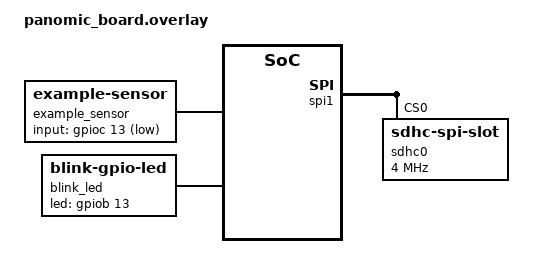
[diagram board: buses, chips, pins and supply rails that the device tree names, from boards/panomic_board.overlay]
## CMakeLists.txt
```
#-------------------------------------------------------------------------------
# Firmware Template
#
# Copyright (c) 2021 Nordic Semiconductor ASA
# SPDX-License-Identifier: Apache-2.0

cmake_minimum_required(VERSION 3.13.1)
find_package(Zephyr REQUIRED HINTS $ENV{ZEPHYR_BASE})

project(app LANGUAGES C)

target_sources(app PRIVATE src/main.c)
```

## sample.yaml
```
# This file is provided so that the application can be compiled using Twister,
# the Zephyr testing tool. In this file, multiple combinations can be specified,
# so that you can easily test all of them locally or in CI.
sample:
  description: Firmware template
  name: firmware-template
common:
  build_only: true
  integration_platforms:
    - panomic_board
    - nucleo_f302r8
tests:
  app.default: {}
  app.debug:
    extra_overlay_confs:
      - debug.conf
```

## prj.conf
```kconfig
# Copyright (c) 2021 Nordic Semiconductor ASA
# SPDX-License-Identifier: Apache-2.0
#
# This file contains selected Kconfig options for the application.

# Heap and stack sizes
CONFIG_HEAP_MEM_POOL_SIZE=8192
CONFIG_MAIN_STACK_SIZE=4096

CONFIG_SENSOR=y
CONFIG_BLINK=y

#console config
CONFIG_CONSOLE=y
CONFIG_UART_CONSOLE=y

# Logging
CONFIG_LOG=y
CONFIG_LOG_BACKEND_UART=y
CONFIG_LOG_BACKEND_UART_AUTOSTART=y
CONFIG_LOG_TIMESTAMP_64BIT=y

# Shell
CONFIG_SHELL=y
CONFIG_SHELL_BACKENDS=y #dependency CONFIG_SHELL
CONFIG_SHELL_BACKEND_SERIAL=y #dependency CONFIG_UART_CONSOLE
CONFIG_SHELL_HISTORY=y

# Disable log redirection to shell to separate it
CONFIG_SHELL_LOG_BACKEND=n 

#SD card configurations
CONFIG_DISK_ACCESS=y
CONFIG_FILE_SYSTEM=y
CONFIG_FAT_FILESYSTEM_ELM=y
CONFIG_MAIN_STACK_SIZE=2048

CONFIG_SPI=y
CONFIG_DISK_DRIVER_SDMMC=y
CONFIG_SPI_STM32=y

#Settings configuations
CONFIG_SETTINGS=y
CONFIG_SETTINGS_RUNTIME=y

CONFIG_SETTINGS_FILE=y
CONFIG_SETTINGS_FILE_PATH="/SD:/settings/settings.txt"
```

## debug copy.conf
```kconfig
# Copyright (c) 2021 Nordic Semiconductor ASA
# SPDX-License-Identifier: Apache-2.0
#
# This is a Kconfig fragment which can be used to enable debug-related options
# in the application. See the README for more details.

# compiler
# CONFIG_DEBUG_OPTIMIZATIONS=y

# logging
# CONFIG_APP_LOG_LEVEL_DBG=y

# Enable stack sentinel to detect stack overflows
#CONFIG_STACK_SENTINEL=y
#shell configurations

CONFIG_MAIN_STACK_SIZE=4096
CONFIG_HEAP_MEM_POOL_SIZE=8192
#CONFIG_HW_STACK_PROTECTION=y
#CONFIG_FLASH=y

# Shell Related Configs
# Enable Shell for GPIO
CONFIG_GPIO=y
CONFIG_GPIO_SHELL=y
CONFIG_UART_CONSOLE=y

# Enable Shell for I2C
CONFIG_I2C=y
CONFIG_I2C_SHELL=y

#SYSTEM VIEW TRACE

CONFIG_STDOUT_CONSOLE=y
# enable to use thread names
CONFIG_THREAD_NAME=y
CONFIG_SEGGER_SYSTEMVIEW=y
CONFIG_USE_SEGGER_RTT=y
CONFIG_TRACING=y
# enable for post-mortem tracing
CONFIG_SEGGER_SYSVIEW_POST_MORTEM_MODE=n

# CONFIG_TRACING=y
# CONFIG_PERCEPIO_TRACERECORDER=y
# CONFIG_PERCEPIO_TRC_START_MODE_START_FROM_HOST=y
# CONFIG_PERCEPIO_TRC_CFG_STREAM_PORT_RTT=y
# CONFIG_PERCEPIO_TRC_CFG_STREAM_PORT_RTT_UP_BUFFER_SIZE=2000
```

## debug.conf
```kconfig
# Copyright (c) 2021 Nordic Semiconductor ASA
# SPDX-License-Identifier: Apache-2.0
#
# This is a Kconfig fragment which can be used to enable debug-related options
# in the application. See the README for more details.

# compiler
CONFIG_DEBUG_OPTIMIZATIONS=y

# logging
CONFIG_APP_LOG_LEVEL_DBG=y

# Enable stack sentinel to detect stack overflows
#CONFIG_STACK_SENTINEL=y
#CONFIG_HW_STACK_PROTECTION=y

# Shell Related Configs
# Enable Shell for GPIO
CONFIG_GPIO=y
CONFIG_GPIO_SHELL=y

#Enable UART console
CONFIG_UART_CONSOLE=y

# Enable Shell for I2C
CONFIG_I2C=y
CONFIG_I2C_SHELL=y

#Enables settings on shell
CONFIG_SETTINGS_SHELL=y

#ENABLE TO USE SYSTEM VIEW TRACE
#***********************************************************************************
# CONFIG_STDOUT_CONSOLE=y
# # enable to use thread names
# CONFIG_THREAD_NAME=y
# CONFIG_SEGGER_SYSTEMVIEW=y
# CONFIG_USE_SEGGER_RTT=y
# CONFIG_TRACING=y
# # enable for post-mortem tracing
# CONFIG_SEGGER_SYSVIEW_POST_MORTEM_MODE=n
#***********************************************************************************

# #ENABLE ALL BELOW PERCEPIO CONFIGURATION TO WORK WITH PERCEPIO TRACELIZER SOFTWARE
#***********************************************************************************
# CONFIG_TRACING=y
# CONFIG_PERCEPIO_TRACERECORDER=y
# CONFIG_PERCEPIO_TRC_START_MODE_START_FROM_HOST=y
# CONFIG_PERCEPIO_TRC_CFG_STREAM_PORT_RTT=y
# CONFIG_PERCEPIO_TRC_CFG_STREAM_PORT_RTT_UP_BUFFER_SIZE=5000

#***********************************************************************************
```

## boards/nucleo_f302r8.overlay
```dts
/*
 * Copyright (c) 2021 Nordic Semiconductor ASA
 * SPDX-License-Identifier: Apache-2.0
 */

/* This devicetree overlay file will be automatically picked by the Zephyr
 * build system when building the sample for the nucleo_f302r8 board. It shows
 * how the firmware-template can be built on sample boards already provided
 * by Zephyr.
 */

/ {
  example_sensor: example-sensor {
    compatible = "zephyr,example-sensor";
    input-gpios = <&gpioc 13 (GPIO_PULL_UP | GPIO_ACTIVE_LOW)>;
  };

  blink_led: blink-led {
    compatible = "blink-gpio-led";
    led-gpios = <&gpiob 13 GPIO_ACTIVE_HIGH>;
    blink-period-ms = <1000>;
  };
};

&gpioc {
  status = "okay";
};
```

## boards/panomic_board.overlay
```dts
/*
 * Copyright (c) 2021 Nordic Semiconductor ASA
 * SPDX-License-Identifier: Apache-2.0
 */

/* This devicetree overlay file will be automatically picked by the Zephyr
 * build system when building the sample for the nucleo_f302r8 board. It shows
 * how the firmware-template can be built on sample boards already provided
 * by Zephyr.
 */

/ {
  example_sensor: example-sensor {
    compatible = "zephyr,example-sensor";
    input-gpios = <&gpioc 13 (GPIO_PULL_UP | GPIO_ACTIVE_LOW)>;
  };

  blink_led: blink-led {
    compatible = "blink-gpio-led";
    led-gpios = <&gpiob 13 GPIO_ACTIVE_HIGH>;
    blink-period-ms = <1000>;
  };
};

&gpioc {
  status = "okay";
};

&spi1 {
	sdhc0: sdhc@0 {
		compatible = "zephyr,sdhc-spi-slot";
		reg = <0>;
		status = "okay";
		mmc {
			compatible = "zephyr,sdmmc-disk";
			status = "okay";
      disk-name = "SD";
		};
		spi-max-frequency = <4000000>;
	};
};
```

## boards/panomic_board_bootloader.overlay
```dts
/*
 * Copyright (c) 2021 Nordic Semiconductor ASA
 * SPDX-License-Identifier: Apache-2.0
 */

/* This devicetree overlay file will be automatically picked by the Zephyr
 * build system when building the sample for the nucleo_f302r8 board. It shows
 * how the firmware-template can be built on sample boards already provided
 * by Zephyr.
 */

 #include "panomic_board.overlay"

 / {
  chosen {
    zephyr,code-partition = &boot_partition;
  };
};
```

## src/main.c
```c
/*
 * Copyright (c) 2021 Nordic Semiconductor ASA
 * SPDX-License-Identifier: Apache-2.0
 */

#include <zephyr/kernel.h>
#include <zephyr/drivers/sensor.h>
#include <zephyr/logging/log.h>
#include <app/drivers/blink.h>
#include <app_version.h>
#include <zephyr/settings/settings.h>
#include <inttypes.h>
#include <zephyr/storage/disk_access.h>
#include <zephyr/fs/fs.h>


#define CONFIG_SETTINGS_FILE_DIR "/SD:/settings"

#if defined(CONFIG_FAT_FILESYSTEM_ELM)
#include <ff.h>
/*
 *  Note the fatfs library is able to mount only strings inside _VOLUME_STRS
 *  in ffconf.h
 */
#define DISK_DRIVE_NAME "SD"
#define DISK_MOUNT_PT "/SD:"

static FATFS fat_fs;
/* mounting info */
static struct fs_mount_t mp = {
	.type = FS_FATFS,
	.fs_data = &fat_fs,
};

#elif defined(CONFIG_FILE_SYSTEM_EXT2)

#include <zephyr/fs/ext2.h>

#define DISK_DRIVE_NAME "SDMMC"
#define DISK_MOUNT_PT "/ext"

static struct fs_mount_t mp = {
	.type = FS_EXT2,
	.flags = FS_MOUNT_FLAG_NO_FORMAT,
	.storage_dev = (void *)DISK_DRIVE_NAME,
	.mnt_point = "/ext",
};

#endif
#if defined(CONFIG_FAT_FILESYSTEM_ELM)
#define FS_RET_OK FR_OK
#else
#define FS_RET_OK 0
#endif

LOG_MODULE_REGISTER(main, CONFIG_APP_LOG_LEVEL);
#define BLINK_PERIOD_MS_STEP 100U
#define BLINK_PERIOD_MS_MAX 1000U
#define DEFAULT_FOO_VAL_VALUE 1

static uint8_t foo_val = DEFAULT_FOO_VAL_VALUE;
static const char *disk_mount_pt = DISK_MOUNT_PT;
static int lsdir(const char *path);

/**
 * @brief Set a setting value.
 *
 * @param name Setting name.
 * @param len Data length.
 * @param read_cb Callback to read value.
 * @param cb_arg Callback argument.
 * @return 0 on success, negative on error.
 */
static int foo_settings_set(const char *name, size_t len,
                            settings_read_cb read_cb, void *cb_arg)
{
    const char *next;
    int rc;

    printk("loading the settings\n");

    if (settings_name_steq(name, "bar", &next) && !next) {
        if (len != sizeof(foo_val)) {
            return -EINVAL;
        }

        rc = read_cb(cb_arg, &foo_val, sizeof(foo_val));
        if (rc >= 0) {
            /* key-value pair was properly read.
             * rc contains value length.
             */            
            printf("foo: %d\n", foo_val);
            return 0;
        }
        else{
            printk("error reading settings  %d\n", rc);
        }
        /* read-out error */
        return rc;
    }

    return -ENOENT;
}

/**
 * @brief Export setting value.
 *
 * @param storage_func Function to store value.
 * @return 0 on success, negative on error.
 */
static int foo_settings_export(int (*storage_func)(const char *name,
                                                   const void *value,
                                                   size_t val_len))
{
    return storage_func("foo/bar", &foo_val, sizeof(foo_val));
}

struct settings_handler my_conf = {
    .name = "foo",
    .h_set = foo_settings_set,
    .h_export = foo_settings_export
};


/**
 * @brief Main function of the application.
 *
 * This function initializes the SD card, mounts the filesystem, initializes
 * the settings subsystem, and sets up the sensor and LED for operation.
 * It enters a loop to read sensor data and adjust the LED blinking period.
 *
 * @return int 0 on success, non-zero error code on failure.
 */
int main(void)
{
  int err;
  int ret;
  unsigned int period_ms = BLINK_PERIOD_MS_MAX;
  const struct device *sensor, *blink;
  struct sensor_value last_val = {0}, val;

  static const char *disk_pdrv = DISK_DRIVE_NAME;
  uint64_t memory_size_mb;
  uint32_t block_count;
  uint32_t block_size;

  /************** Initialize SD card **************/

  if (disk_access_ioctl(disk_pdrv,DISK_IOCTL_CTRL_INIT, NULL) != 0) 
  {
    LOG_ERR("Storage init ERROR!");
    return 1;
  }

  if (disk_access_ioctl(disk_pdrv,
      DISK_IOCTL_GET_SECTOR_COUNT, &block_count)) {
    LOG_ERR("Unable to get sector count");
    return 1;
  }
  LOG_INF("Block count %u", block_count);

  if (disk_access_ioctl(disk_pdrv,
      DISK_IOCTL_GET_SECTOR_SIZE, &block_size)) {
    LOG_ERR("Unable to get sector size");
    return 1;
  }
  printk("Sector size %u\n", block_size);

  memory_size_mb = (uint64_t)block_count * block_size;
  printk("Memory Size(MB) %u\n", (uint32_t)(memory_size_mb >> 20));

  if (disk_access_ioctl(disk_pdrv,
      DISK_IOCTL_CTRL_DEINIT, NULL) != 0) {
    LOG_ERR("Storage deinit ERROR!");
    return 1;
  }

	mp.mnt_point = disk_mount_pt;

	int res = fs_mount(&mp);

	if (res == FS_RET_OK) 
  {
		printk("Disk mounted.\n");

    /* Create settings directory if needed */
    struct fs_dirent entry;
    /* Check if directory exists first */
    res = fs_stat(CONFIG_SETTINGS_FILE_DIR, &entry);
    if (res == -ENOENT) {
        /* Directory doesn't exist, create it */
        res = fs_mkdir(CONFIG_SETTINGS_FILE_DIR);
        if (res != 0) {
            printk("Failed to create settings directory (err %d)\n", res);
            return res;
        }
        printk("Created settings directory\n");
    } else if (res != 0) {
        /* Some other error */
        printk("Error checking settings directory (err %d)\n", res);
        return res;
    }

    if (lsdir(disk_mount_pt) == 0){
      printk("Error listing disk contents.\n");
    }

    /* Initialize settings subsystem */
    err = settings_subsys_init();
    if (err && err != -EEXIST) {
      LOG_ERR("Settings subsystem init failed (err %d)", err);
      /* Continue anyway */
    }

    /* Register the settings handler */
    err = settings_register(&my_conf);    
    if (err) {
      LOG_ERR("Settings register failed (err %d)", err);
      /* Continue anyway */
    }

    /* Load settings */
    err = settings_load();
    if (err) {
      LOG_ERR("Settings load failed (err %d)", err);
      /* Continue anyway */
    }

    foo_val++;
    err = settings_save_one("foo/bar", &foo_val, sizeof(foo_val));
    if (err) {
        LOG_ERR("Settings save failed (err %d)", err);
        printk("Settings save failed (err %d)\n", err);
    } else {
        LOG_DBG("foo_val updated and saved: %d", foo_val);
        printk("foo_val updated and saved: %d\n", foo_val);
        
        /* Add this: Force garbage collection to clean up old entries */
        if (foo_val % 5 == 0) {  // Only do this occasionally to avoid wear
            printk("Performing settings garbage collection\n");
            settings_save();  // This will rewrite the file without duplicates
        }
    }

    k_msleep(1000);
    
  }

/************** Blinck & sensor initialization **************/

  printk("Firmware Template %s\n", APP_VERSION_STRING);
  LOG_DBG("Logging works.");

  sensor = DEVICE_DT_GET(DT_NODELABEL(example_sensor));
  if (!device_is_ready(sensor))
  {
    LOG_ERR("Sensor not ready");
    return 0;
  }

  blink = DEVICE_DT_GET(DT_NODELABEL(blink_led));
  if (!device_is_ready(blink))
  {
    LOG_ERR("Blink LED not ready");
    return 0;
  }

  ret = blink_off(blink);
  if (ret < 0)
  {
    LOG_ERR("Could not turn off LED (%d)", ret);
    return 0;
  }

  printk("Use the sensor to change LED blinking period\n");

  while (1)
  {
    ret = sensor_sample_fetch(sensor);
    if (ret < 0)
    {
      LOG_ERR("Could not fetch sample (%d)", ret);
      return 0;
    }

    ret = sensor_channel_get(sensor, SENSOR_CHAN_PROX, &val);
    if (ret < 0)
    {
      LOG_ERR("Could not get sample (%d)", ret);
      return 0;
    }

    if ((last_val.val1 == 0) && (val.val1 == 1))
    {
      if (period_ms == 0U)
      {
        period_ms = BLINK_PERIOD_MS_MAX;
      }
      else
      {
        period_ms -= BLINK_PERIOD_MS_STEP;
      }

      printk("Proximity detected, setting LED period to %u ms\n",
             period_ms);
      blink_set_period_ms(blink, period_ms);
    }

    last_val = val;

    k_sleep(K_MSEC(100));
  }

  return 0;
}

/**
 * @brief List the contents of a directory.
 *
 * This function opens a directory specified by the given path, reads its
 * contents, and prints the names of the files and directories it contains.
 * It counts the number of entries and returns this count. If an error occurs
 * during opening or reading the directory, an error code is returned.
 *
 * @param path The path to the directory to be listed.
 * @return int The number of entries in the directory, or a negative error code
 *         if an error occurs.
 */
static int lsdir(const char *path)
{
	int res;
	struct fs_dir_t dirp;
	static struct fs_dirent entry;
	int count = 0;

	fs_dir_t_init(&dirp);

	/* Verify fs_opendir() */
	res = fs_opendir(&dirp, path);
	if (res) {
		printk("Error opening dir %s [%d]\n", path, res);
		return res;
	}

	printk("\nListing dir %s ...\n", path);
	for (;;) {
		/* Verify fs_readdir() */
		res = fs_readdir(&dirp, &entry);

		/* entry.name[0] == 0 means end-of-dir */
		if (res || entry.name[0] == 0) {
			break;
		}

		if (entry.type == FS_DIR_ENTRY_DIR) {
			printk("[DIR ] %s\n", entry.name);
		} else {
			printk("[FILE] %s (size = %zu)\n",
				entry.name, entry.size);
		}
		count++;
	}

	/* Verify fs_closedir() */
	fs_closedir(&dirp);
	if (res == 0) {
		res = count;
	}

	return res;
}
```
